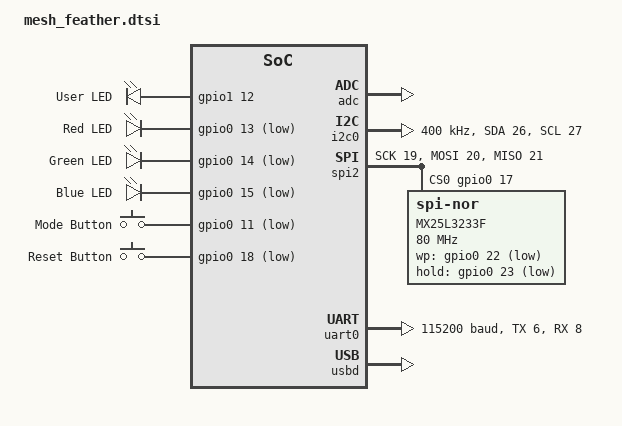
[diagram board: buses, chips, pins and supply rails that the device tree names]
/*
 * Copyright (c) 2018 Endre Karlson
 * Copyright (c) 2018 Peter Bigot Consulting, LLC
 *
 * SPDX-License-Identifier: Apache-2.0
 */

/* Assignments common to all Feather-based Particle mesh boards.
 *
 * NOTE: This file is replicated in particle_{argon,boron,xenon}.
 * Changes should be made in all instances. */

/ {
	aliases {
		led0 = &user_led;
		led1 = &status_red;
		led2 = &status_green;
		led3 = &status_blue;
		sw0 = &mode_button;
		sw1 = &reset_button;
	};

	chosen {
		zephyr,console = &uart0;
		zephyr,uart-mcumgr = &uart0;
		zephyr,shell-uart = &uart0;
		zephyr,sram = &sram0;
		zephyr,flash = &flash0;
		zephyr,code-partition = &slot0_partition;
	};

	leds {
		compatible = "gpio-leds";
		user_led: led_0 {
			gpios = <&gpio1 12 GPIO_ACTIVE_HIGH>;
			label = "User LED";
		};
		status_red: led_1 {
			gpios = <&gpio0 13 GPIO_ACTIVE_LOW>;
			label = "Red LED";
		};
		status_green: led_2 {
			gpios = <&gpio0 14 GPIO_ACTIVE_LOW>;
			label = "Green LED";
		};
		status_blue: led_3 {
			gpios = <&gpio0 15 GPIO_ACTIVE_LOW>;
			label = "Blue LED";
		};
	};

	gpio_keys {
		compatible = "gpio-keys";
		mode_button: button_0 {
			gpios = <&gpio0 11 (GPIO_PULL_UP | GPIO_ACTIVE_LOW)>;
			label = "Mode Button";
		};

		reset_button: button_1 {
			gpios = <&gpio0 18 (GPIO_PULL_UP | GPIO_ACTIVE_LOW)>;
			label = "Reset Button";
		};
	};
};

&adc { /* feather ADC */
	status = "okay";
};

&flash0 {
	partitions {
		compatible = "fixed-partitions";
		#address-cells = <1>;
		#size-cells = <1>;

		boot_partition: partition@0 {
			label = "mcuboot";
			reg = <0x000000000 0x0000C000>;
		};
		slot0_partition: partition@c000 {
			label = "image-0";
			reg = <0x0000C000 0x000067000>;
		};
		slot1_partition: partition@73000 {
			label = "image-1";
			reg = <0x00073000 0x000067000>;
		};
		scratch_partition: partition@da000 {
			label = "image-scratch";
			reg = <0x000da000 0x0001e000>;
		};

		/*
		 * The flash starting at 0x000f8000 and ending at
		 * 0x000fffff is reserved for use by the application.
		 */

		/*
		 * Storage partition will be used by FCB/LittleFS/NVS
		 * if enabled.
		 */
		storage_partition: partition@f8000 {
			label = "storage";
			reg = <0x000f8000 0x00008000>;
		};
	};
};

&gpio0 {
	status = "okay";
};

&gpio1 {
	status = "okay";
};

&gpiote {
	status = "okay";
};

arduino_i2c: &i2c0 { /* feather I2C */
	compatible = "nordic,nrf-twi";
	status = "okay";
	clock-frequency = <I2C_BITRATE_FAST>;
	sda-pin = <26>;
	scl-pin = <27>;
};

/* TWI1 used on Boron; also see mesh_feather_spi1_spi1.dtsi */

&spi2 { /* dedicated MX25L */
	compatible = "nordic,nrf-spi";
	status = "okay";
	sck-pin = <19>;
	mosi-pin = <20>;
	miso-pin = <21>;
	cs-gpios = <&gpio0 17 0>;
	mx25l32: mx25l3233f@0 {
		compatible = "jedec,spi-nor";
		label = "MX25L3233F";
		reg = <0>;
		spi-max-frequency = <80000000>;
		wp-gpios = <&gpio0 22 GPIO_ACTIVE_LOW>;
		hold-gpios = <&gpio0 23 GPIO_ACTIVE_LOW>;
		size = <0x2000000>;
		has-be32k;
		has-dpd;
		t-enter-dpd = <10000>;
		t-exit-dpd = <100000>;
		jedec-id = [c2 20 16];
	};
};

/* see mesh_feather_spi1_spi3.dtsi */

&uart0 { /* feather UART1 */
	compatible = "nordic,nrf-uarte";
	current-speed = <115200>;
	status = "okay";
	tx-pin = <6>;
	rx-pin = <8>;
	/* optional mesh_feather_uart1_rtscts.dtsi */
};

&usbd {
	compatible = "nordic,nrf-usbd";
	status = "okay";
};
